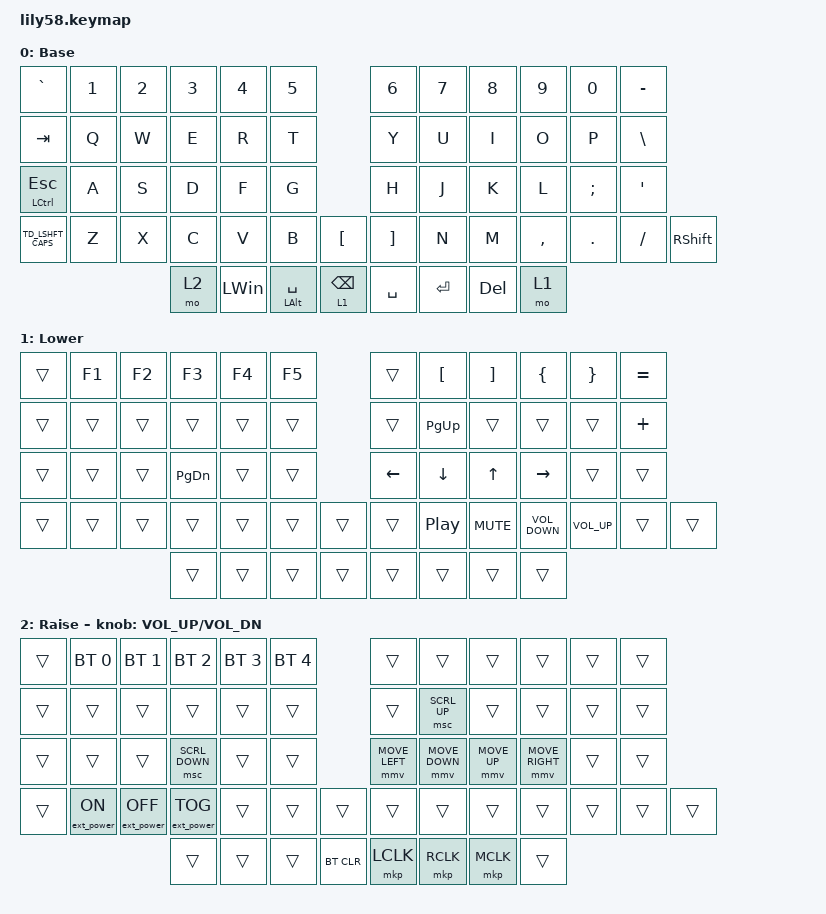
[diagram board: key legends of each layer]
/*
 * Copyright (c) 2020 The ZMK Contributors
 *
 * SPDX-License-Identifier: MIT
 */

#include <behaviors.dtsi>
#include <dt-bindings/zmk/bt.h>
#include <dt-bindings/zmk/keys.h>

// Mouse-key speed. These override pointing.h's defaults (move 600 / scroll 10)
// and MUST be defined before the include below (pointing.h guards with #ifndef).
#define ZMK_POINTING_DEFAULT_MOVE_VAL 3000   // max cursor speed (units/sec) — raise to go faster
#define ZMK_POINTING_DEFAULT_SCRL_VAL 20     // scroll speed
#include <dt-bindings/zmk/pointing.h>
#include <dt-bindings/zmk/ext_power.h>

// Time held before the cursor reaches full speed (acceleration ramp).
&mmv {
    time-to-max-speed-ms = <300>;
};

// Match QMK Caps Word: also keep caps active on the "-" key (ZMK breaks on it by default).
&caps_word {
    continue-list = <UNDERSCORE MINUS BACKSPACE DELETE>;
};

/ {
    behaviors {
        HT_LAYER2: HT_LAYER2 {
            compatible = "zmk,behavior-hold-tap";
            label = "HT_LAYER2";
            bindings = <&mo>, <&tog>;

            #binding-cells = <2>;
            tapping-term-ms = <200>;
            flavor = "tap-preferred";
            quick-tap-ms = <0>;
        };

        HT_L_KP_2: HT_L_KP_2 {
            compatible = "zmk,behavior-hold-tap";
            label = "HT_L_KP_2";
            bindings = <&mo>, <&kp>;

            #binding-cells = <2>;
            tapping-term-ms = <200>;
            quick-tap-ms = <0>;
            flavor = "tap-preferred";
        };

        HT_KP_LT_2: HT_KP_LT_2 {
            compatible = "zmk,behavior-hold-tap";
            label = "HT_KP_LT_2";
            bindings = <&kp>, <&tog>;

            #binding-cells = <2>;
            tapping-term-ms = <200>;
            flavor = "tap-preferred";
            quick-tap-ms = <0>;
        };

        TD_LCTRL_CAPS: TD_LCTRL_CAPS {
            compatible = "zmk,behavior-tap-dance";
            label = "TD_LCTRL_CAPS";
            #binding-cells = <0>;
            bindings = <&kp LCTRL>, <&kp CAPS>;
        };

        // Left Shift: tap/hold = Shift, double-tap = Caps Word (QMK-style;
        // auto-exits on space/punctuation, continues on letters/numbers/_/bspc/del).
        TD_LSHFT_CAPS: TD_LSHFT_CAPS {
            compatible = "zmk,behavior-tap-dance";
            label = "TD_LSHFT_CAPS";
            #binding-cells = <0>;
            tapping-term-ms = <200>;
            bindings = <&kp LSHFT>, <&caps_word>;
        };
    };

    keymap {
        compatible = "zmk,keymap";

        default_layer {
            // ------------------------------------------------------------------------------------------------------------
            // |  ESC  |  1  |  2  |  3   |  4   |  5   |                   |  6   |  7    |  8    |  9   |   0   |   `   |
            // |  TAB  |  Q  |  W  |  E   |  R   |  T   |                   |  Y   |  U    |  I    |  O   |   P   |   -   |
            // |  CTRL |  A  |  S  |  D   |  F   |  G   |                   |  H   |  J    |  K    |  L   |   ;   |   '   |
            // | SHIFT |  Z  |  X  |  C   |  V   |  B   |   "["  |  |  "]"  |  N   |  M    |  ,    |  .   |   /   | SHIFT |
            //                     | ALT  | GUI  | LOWER|  SPACE |  | ENTER | RAISE| BSPC  | GUI   |

            display-name = "Base";
            bindings = <
&kp GRAVE         &kp N1  &kp N2  &kp N3  &kp N4              &kp N5                                      &kp N6   &kp N7      &kp N8     &kp N9   &kp N0    &kp MINUS
&kp TAB           &kp Q   &kp W   &kp E   &kp R               &kp T                                       &kp Y    &kp U       &kp I      &kp O    &kp P     &kp BACKSLASH
&mt LCTRL ESCAPE  &kp A   &kp S   &kp D   &kp F               &kp G                                       &kp H    &kp J       &kp K      &kp L    &kp SEMI  &kp SQT
&TD_LSHFT_CAPS    &kp Z   &kp X   &kp C   &kp V               &kp B               &kp LBKT           &kp RBKT   &kp N    &kp M       &kp COMMA  &kp DOT  &kp FSLH  &kp RSHFT
                                  &mo 2   &kp LEFT_WIN        &mt LEFT_ALT SPACE  &lt 1 BACKSPACE    &kp SPACE  &kp RET  &kp DELETE  &mo 1
            >;
        };

        lower_layer {
            bindings = <
&trans  &kp F1  &kp F2  &kp F3         &kp F4  &kp F5                    &trans          &kp LEFT_BRACKET  &kp RIGHT_BRACKET  &kp LEFT_BRACE   &kp RIGHT_BRACE  &kp EQUAL
&trans  &trans  &trans  &trans         &trans  &trans                    &trans          &kp PAGE_UP       &trans             &trans           &trans           &kp PLUS
&trans  &trans  &trans  &kp PAGE_DOWN  &trans  &trans                    &kp LEFT_ARROW  &kp DOWN_ARROW    &kp UP_ARROW       &kp RIGHT_ARROW  &trans           &trans
&trans  &trans  &trans  &trans         &trans  &trans  &trans    &trans  &kp C_PLAY_PAUSE  &kp K_MUTE        &kp C_VOLUME_DOWN  &kp C_VOLUME_UP  &trans           &trans
                        &trans         &trans  &trans  &trans    &trans  &trans          &trans            &trans
            >;

            label = "Lower";
        };

        raise_layer {
            // ------------------------------------------------------------------------------------------------------------
            // |       |     |     |      |      |      |                   |      |       |       |      |       |       |
            // |   `   |  1  |  2  |  3   |  4   |  5   |                   |  6   |   7   |   8   |  9   |   0   |       |
            // |   F1  |  F2 |  F3 |  F4  |  F5  |  F6  |                   |      |   <-  |   v   |  ^   |  ->   |       |
            // |   F7  |  F8 |  F9 |  F10 |  F11 |  F12 |        |  |       |  +   |   -   |   =   |  [   |   ]   |   \   |
            //                     |      |      |      |        |  |       |      |       |       |

            display-name = "Raise";
            bindings = <
&trans      &bt BT_SEL 0      &bt BT_SEL 1       &bt BT_SEL 2          &bt BT_SEL 3  &bt BT_SEL 4                           &trans          &trans          &trans        &trans           &trans  &trans
&trans      &trans            &trans             &trans                &trans        &trans                                 &trans          &msc SCRL_UP    &trans        &trans           &trans  &trans
&trans      &trans            &trans             &msc SCRL_DOWN        &trans        &trans                                 &mmv MOVE_LEFT  &mmv MOVE_DOWN  &mmv MOVE_UP  &mmv MOVE_RIGHT  &trans  &trans
&trans      &ext_power EP_ON  &ext_power EP_OFF  &ext_power EP_TOG     &trans        &trans        &trans        &trans     &trans          &trans          &trans        &trans           &trans  &trans
                                        &trans          &trans        &trans        &bt BT_CLR    &mkp LCLK  &mkp RCLK       &mkp MCLK       &trans
            >;

            sensor-bindings = <&inc_dec_kp C_VOL_UP C_VOL_DN>;
        };
    };
};
